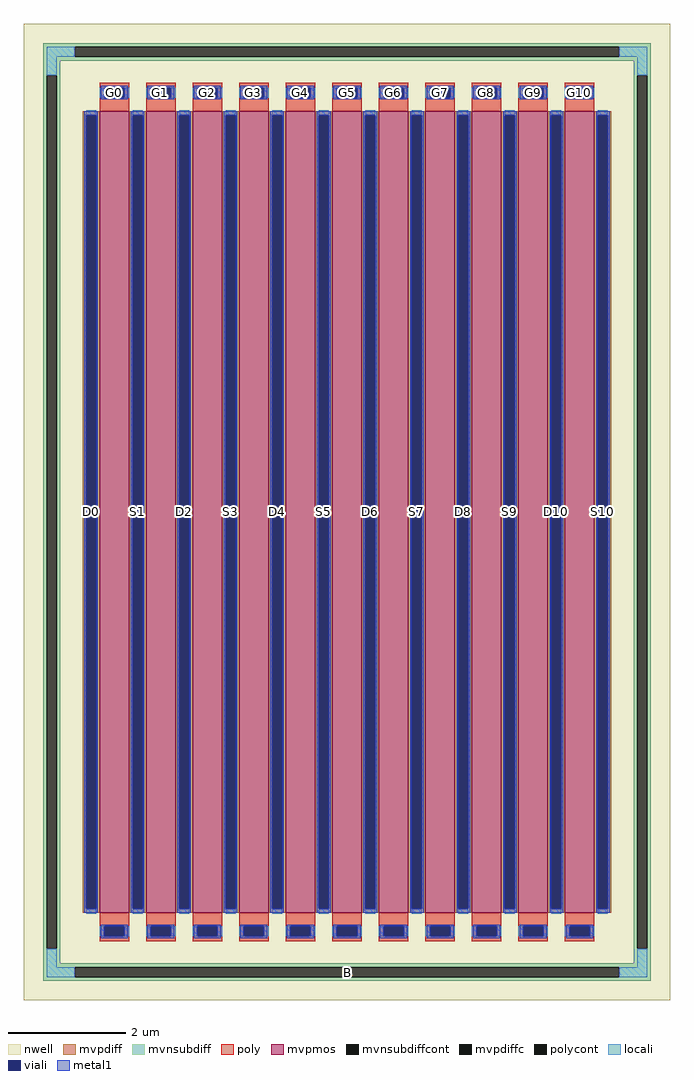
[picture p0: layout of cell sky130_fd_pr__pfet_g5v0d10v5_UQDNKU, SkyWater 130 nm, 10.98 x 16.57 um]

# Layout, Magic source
magic
tech sky130A
magscale 1 2
<< nwell >>
rect -1098 -1657 1098 1657
<< mvpmos >>
rect -840 -1360 -740 1360
rect -682 -1360 -582 1360
rect -524 -1360 -424 1360
rect -366 -1360 -266 1360
rect -208 -1360 -108 1360
rect -50 -1360 50 1360
rect 108 -1360 208 1360
rect 266 -1360 366 1360
rect 424 -1360 524 1360
rect 582 -1360 682 1360
rect 740 -1360 840 1360
<< mvpdiff >>
rect -898 1348 -840 1360
rect -898 -1348 -886 1348
rect -852 -1348 -840 1348
rect -898 -1360 -840 -1348
rect -740 1348 -682 1360
rect -740 -1348 -728 1348
rect -694 -1348 -682 1348
rect -740 -1360 -682 -1348
rect -582 1348 -524 1360
rect -582 -1348 -570 1348
rect -536 -1348 -524 1348
rect -582 -1360 -524 -1348
rect -424 1348 -366 1360
rect -424 -1348 -412 1348
rect -378 -1348 -366 1348
rect -424 -1360 -366 -1348
rect -266 1348 -208 1360
rect -266 -1348 -254 1348
rect -220 -1348 -208 1348
rect -266 -1360 -208 -1348
rect -108 1348 -50 1360
rect -108 -1348 -96 1348
rect -62 -1348 -50 1348
rect -108 -1360 -50 -1348
rect 50 1348 108 1360
rect 50 -1348 62 1348
rect 96 -1348 108 1348
rect 50 -1360 108 -1348
rect 208 1348 266 1360
rect 208 -1348 220 1348
rect 254 -1348 266 1348
rect 208 -1360 266 -1348
rect 366 1348 424 1360
rect 366 -1348 378 1348
rect 412 -1348 424 1348
rect 366 -1360 424 -1348
rect 524 1348 582 1360
rect 524 -1348 536 1348
rect 570 -1348 582 1348
rect 524 -1360 582 -1348
rect 682 1348 740 1360
rect 682 -1348 694 1348
rect 728 -1348 740 1348
rect 682 -1360 740 -1348
rect 840 1348 898 1360
rect 840 -1348 852 1348
rect 886 -1348 898 1348
rect 840 -1360 898 -1348
<< mvpdiffc >>
rect -886 -1348 -852 1348
rect -728 -1348 -694 1348
rect -570 -1348 -536 1348
rect -412 -1348 -378 1348
rect -254 -1348 -220 1348
rect -96 -1348 -62 1348
rect 62 -1348 96 1348
rect 220 -1348 254 1348
rect 378 -1348 412 1348
rect 536 -1348 570 1348
rect 694 -1348 728 1348
rect 852 -1348 886 1348
<< mvnsubdiff >>
rect -1032 1579 1032 1591
rect -1032 1545 -924 1579
rect 924 1545 1032 1579
rect -1032 1533 1032 1545
rect -1032 1483 -974 1533
rect -1032 -1483 -1020 1483
rect -986 -1483 -974 1483
rect 974 1483 1032 1533
rect -1032 -1533 -974 -1483
rect 974 -1483 986 1483
rect 1020 -1483 1032 1483
rect 974 -1533 1032 -1483
rect -1032 -1545 1032 -1533
rect -1032 -1579 -924 -1545
rect 924 -1579 1032 -1545
rect -1032 -1591 1032 -1579
<< mvnsubdiffcont >>
rect -924 1545 924 1579
rect -1020 -1483 -986 1483
rect 986 -1483 1020 1483
rect -924 -1579 924 -1545
<< poly >>
rect -840 1441 -740 1457
rect -840 1407 -824 1441
rect -756 1407 -740 1441
rect -840 1360 -740 1407
rect -682 1441 -582 1457
rect -682 1407 -666 1441
rect -598 1407 -582 1441
rect -682 1360 -582 1407
rect -524 1441 -424 1457
rect -524 1407 -508 1441
rect -440 1407 -424 1441
rect -524 1360 -424 1407
rect -366 1441 -266 1457
rect -366 1407 -350 1441
rect -282 1407 -266 1441
rect -366 1360 -266 1407
rect -208 1441 -108 1457
rect -208 1407 -192 1441
rect -124 1407 -108 1441
rect -208 1360 -108 1407
rect -50 1441 50 1457
rect -50 1407 -34 1441
rect 34 1407 50 1441
rect -50 1360 50 1407
rect 108 1441 208 1457
rect 108 1407 124 1441
rect 192 1407 208 1441
rect 108 1360 208 1407
rect 266 1441 366 1457
rect 266 1407 282 1441
rect 350 1407 366 1441
rect 266 1360 366 1407
rect 424 1441 524 1457
rect 424 1407 440 1441
rect 508 1407 524 1441
rect 424 1360 524 1407
rect 582 1441 682 1457
rect 582 1407 598 1441
rect 666 1407 682 1441
rect 582 1360 682 1407
rect 740 1441 840 1457
rect 740 1407 756 1441
rect 824 1407 840 1441
rect 740 1360 840 1407
rect -840 -1407 -740 -1360
rect -840 -1441 -824 -1407
rect -756 -1441 -740 -1407
rect -840 -1457 -740 -1441
rect -682 -1407 -582 -1360
rect -682 -1441 -666 -1407
rect -598 -1441 -582 -1407
rect -682 -1457 -582 -1441
rect -524 -1407 -424 -1360
rect -524 -1441 -508 -1407
rect -440 -1441 -424 -1407
rect -524 -1457 -424 -1441
rect -366 -1407 -266 -1360
rect -366 -1441 -350 -1407
rect -282 -1441 -266 -1407
rect -366 -1457 -266 -1441
rect -208 -1407 -108 -1360
rect -208 -1441 -192 -1407
rect -124 -1441 -108 -1407
rect -208 -1457 -108 -1441
rect -50 -1407 50 -1360
rect -50 -1441 -34 -1407
rect 34 -1441 50 -1407
rect -50 -1457 50 -1441
rect 108 -1407 208 -1360
rect 108 -1441 124 -1407
rect 192 -1441 208 -1407
rect 108 -1457 208 -1441
rect 266 -1407 366 -1360
rect 266 -1441 282 -1407
rect 350 -1441 366 -1407
rect 266 -1457 366 -1441
rect 424 -1407 524 -1360
rect 424 -1441 440 -1407
rect 508 -1441 524 -1407
rect 424 -1457 524 -1441
rect 582 -1407 682 -1360
rect 582 -1441 598 -1407
rect 666 -1441 682 -1407
rect 582 -1457 682 -1441
rect 740 -1407 840 -1360
rect 740 -1441 756 -1407
rect 824 -1441 840 -1407
rect 740 -1457 840 -1441
<< polycont >>
rect -824 1407 -756 1441
rect -666 1407 -598 1441
rect -508 1407 -440 1441
rect -350 1407 -282 1441
rect -192 1407 -124 1441
rect -34 1407 34 1441
rect 124 1407 192 1441
rect 282 1407 350 1441
rect 440 1407 508 1441
rect 598 1407 666 1441
rect 756 1407 824 1441
rect -824 -1441 -756 -1407
rect -666 -1441 -598 -1407
rect -508 -1441 -440 -1407
rect -350 -1441 -282 -1407
rect -192 -1441 -124 -1407
rect -34 -1441 34 -1407
rect 124 -1441 192 -1407
rect 282 -1441 350 -1407
rect 440 -1441 508 -1407
rect 598 -1441 666 -1407
rect 756 -1441 824 -1407
<< locali >>
rect -1020 1545 -924 1579
rect 924 1545 1020 1579
rect -1020 1483 -986 1545
rect 986 1483 1020 1545
rect -840 1407 -824 1441
rect -756 1407 -740 1441
rect -682 1407 -666 1441
rect -598 1407 -582 1441
rect -524 1407 -508 1441
rect -440 1407 -424 1441
rect -366 1407 -350 1441
rect -282 1407 -266 1441
rect -208 1407 -192 1441
rect -124 1407 -108 1441
rect -50 1407 -34 1441
rect 34 1407 50 1441
rect 108 1407 124 1441
rect 192 1407 208 1441
rect 266 1407 282 1441
rect 350 1407 366 1441
rect 424 1407 440 1441
rect 508 1407 524 1441
rect 582 1407 598 1441
rect 666 1407 682 1441
rect 740 1407 756 1441
rect 824 1407 840 1441
rect -886 1348 -852 1364
rect -886 -1364 -852 -1348
rect -728 1348 -694 1364
rect -728 -1364 -694 -1348
rect -570 1348 -536 1364
rect -570 -1364 -536 -1348
rect -412 1348 -378 1364
rect -412 -1364 -378 -1348
rect -254 1348 -220 1364
rect -254 -1364 -220 -1348
rect -96 1348 -62 1364
rect -96 -1364 -62 -1348
rect 62 1348 96 1364
rect 62 -1364 96 -1348
rect 220 1348 254 1364
rect 220 -1364 254 -1348
rect 378 1348 412 1364
rect 378 -1364 412 -1348
rect 536 1348 570 1364
rect 536 -1364 570 -1348
rect 694 1348 728 1364
rect 694 -1364 728 -1348
rect 852 1348 886 1364
rect 852 -1364 886 -1348
rect -840 -1441 -824 -1407
rect -756 -1441 -740 -1407
rect -682 -1441 -666 -1407
rect -598 -1441 -582 -1407
rect -524 -1441 -508 -1407
rect -440 -1441 -424 -1407
rect -366 -1441 -350 -1407
rect -282 -1441 -266 -1407
rect -208 -1441 -192 -1407
rect -124 -1441 -108 -1407
rect -50 -1441 -34 -1407
rect 34 -1441 50 -1407
rect 108 -1441 124 -1407
rect 192 -1441 208 -1407
rect 266 -1441 282 -1407
rect 350 -1441 366 -1407
rect 424 -1441 440 -1407
rect 508 -1441 524 -1407
rect 582 -1441 598 -1407
rect 666 -1441 682 -1407
rect 740 -1441 756 -1407
rect 824 -1441 840 -1407
rect -1020 -1545 -986 -1483
rect 986 -1545 1020 -1483
rect -1020 -1579 -924 -1545
rect 924 -1579 1020 -1545
<< viali >>
rect -824 1407 -756 1441
rect -666 1407 -598 1441
rect -508 1407 -440 1441
rect -350 1407 -282 1441
rect -192 1407 -124 1441
rect -34 1407 34 1441
rect 124 1407 192 1441
rect 282 1407 350 1441
rect 440 1407 508 1441
rect 598 1407 666 1441
rect 756 1407 824 1441
rect -886 -1348 -852 1348
rect -728 -1348 -694 1348
rect -570 -1348 -536 1348
rect -412 -1348 -378 1348
rect -254 -1348 -220 1348
rect -96 -1348 -62 1348
rect 62 -1348 96 1348
rect 220 -1348 254 1348
rect 378 -1348 412 1348
rect 536 -1348 570 1348
rect 694 -1348 728 1348
rect 852 -1348 886 1348
rect -824 -1441 -756 -1407
rect -666 -1441 -598 -1407
rect -508 -1441 -440 -1407
rect -350 -1441 -282 -1407
rect -192 -1441 -124 -1407
rect -34 -1441 34 -1407
rect 124 -1441 192 -1407
rect 282 -1441 350 -1407
rect 440 -1441 508 -1407
rect 598 -1441 666 -1407
rect 756 -1441 824 -1407
<< metal1 >>
rect -836 1441 -744 1447
rect -836 1407 -824 1441
rect -756 1407 -744 1441
rect -836 1401 -744 1407
rect -678 1441 -586 1447
rect -678 1407 -666 1441
rect -598 1407 -586 1441
rect -678 1401 -586 1407
rect -520 1441 -428 1447
rect -520 1407 -508 1441
rect -440 1407 -428 1441
rect -520 1401 -428 1407
rect -362 1441 -270 1447
rect -362 1407 -350 1441
rect -282 1407 -270 1441
rect -362 1401 -270 1407
rect -204 1441 -112 1447
rect -204 1407 -192 1441
rect -124 1407 -112 1441
rect -204 1401 -112 1407
rect -46 1441 46 1447
rect -46 1407 -34 1441
rect 34 1407 46 1441
rect -46 1401 46 1407
rect 112 1441 204 1447
rect 112 1407 124 1441
rect 192 1407 204 1441
rect 112 1401 204 1407
rect 270 1441 362 1447
rect 270 1407 282 1441
rect 350 1407 362 1441
rect 270 1401 362 1407
rect 428 1441 520 1447
rect 428 1407 440 1441
rect 508 1407 520 1441
rect 428 1401 520 1407
rect 586 1441 678 1447
rect 586 1407 598 1441
rect 666 1407 678 1441
rect 586 1401 678 1407
rect 744 1441 836 1447
rect 744 1407 756 1441
rect 824 1407 836 1441
rect 744 1401 836 1407
rect -892 1348 -846 1360
rect -892 -1348 -886 1348
rect -852 -1348 -846 1348
rect -892 -1360 -846 -1348
rect -734 1348 -688 1360
rect -734 -1348 -728 1348
rect -694 -1348 -688 1348
rect -734 -1360 -688 -1348
rect -576 1348 -530 1360
rect -576 -1348 -570 1348
rect -536 -1348 -530 1348
rect -576 -1360 -530 -1348
rect -418 1348 -372 1360
rect -418 -1348 -412 1348
rect -378 -1348 -372 1348
rect -418 -1360 -372 -1348
rect -260 1348 -214 1360
rect -260 -1348 -254 1348
rect -220 -1348 -214 1348
rect -260 -1360 -214 -1348
rect -102 1348 -56 1360
rect -102 -1348 -96 1348
rect -62 -1348 -56 1348
rect -102 -1360 -56 -1348
rect 56 1348 102 1360
rect 56 -1348 62 1348
rect 96 -1348 102 1348
rect 56 -1360 102 -1348
rect 214 1348 260 1360
rect 214 -1348 220 1348
rect 254 -1348 260 1348
rect 214 -1360 260 -1348
rect 372 1348 418 1360
rect 372 -1348 378 1348
rect 412 -1348 418 1348
rect 372 -1360 418 -1348
rect 530 1348 576 1360
rect 530 -1348 536 1348
rect 570 -1348 576 1348
rect 530 -1360 576 -1348
rect 688 1348 734 1360
rect 688 -1348 694 1348
rect 728 -1348 734 1348
rect 688 -1360 734 -1348
rect 846 1348 892 1360
rect 846 -1348 852 1348
rect 886 -1348 892 1348
rect 846 -1360 892 -1348
rect -836 -1407 -744 -1401
rect -836 -1441 -824 -1407
rect -756 -1441 -744 -1407
rect -836 -1447 -744 -1441
rect -678 -1407 -586 -1401
rect -678 -1441 -666 -1407
rect -598 -1441 -586 -1407
rect -678 -1447 -586 -1441
rect -520 -1407 -428 -1401
rect -520 -1441 -508 -1407
rect -440 -1441 -428 -1407
rect -520 -1447 -428 -1441
rect -362 -1407 -270 -1401
rect -362 -1441 -350 -1407
rect -282 -1441 -270 -1407
rect -362 -1447 -270 -1441
rect -204 -1407 -112 -1401
rect -204 -1441 -192 -1407
rect -124 -1441 -112 -1407
rect -204 -1447 -112 -1441
rect -46 -1407 46 -1401
rect -46 -1441 -34 -1407
rect 34 -1441 46 -1407
rect -46 -1447 46 -1441
rect 112 -1407 204 -1401
rect 112 -1441 124 -1407
rect 192 -1441 204 -1407
rect 112 -1447 204 -1441
rect 270 -1407 362 -1401
rect 270 -1441 282 -1407
rect 350 -1441 362 -1407
rect 270 -1447 362 -1441
rect 428 -1407 520 -1401
rect 428 -1441 440 -1407
rect 508 -1441 520 -1407
rect 428 -1447 520 -1441
rect 586 -1407 678 -1401
rect 586 -1441 598 -1407
rect 666 -1441 678 -1407
rect 586 -1447 678 -1441
rect 744 -1407 836 -1401
rect 744 -1441 756 -1407
rect 824 -1441 836 -1407
rect 744 -1447 836 -1441
<< labels >>
rlabel mvnsubdiffcont 0 -1562 0 -1562 0 B
port 1 nsew
rlabel mvpdiffc -869 0 -869 0 0 D0
port 2 nsew
rlabel polycont -790 1424 -790 1424 0 G0
port 3 nsew
rlabel mvpdiffc -711 0 -711 0 0 S1
port 4 nsew
rlabel polycont -632 1424 -632 1424 0 G1
port 5 nsew
rlabel mvpdiffc -553 0 -553 0 0 D2
port 6 nsew
rlabel polycont -474 1424 -474 1424 0 G2
port 7 nsew
rlabel mvpdiffc -395 0 -395 0 0 S3
port 8 nsew
rlabel polycont -316 1424 -316 1424 0 G3
port 9 nsew
rlabel mvpdiffc -237 0 -237 0 0 D4
port 10 nsew
rlabel polycont -158 1424 -158 1424 0 G4
port 11 nsew
rlabel mvpdiffc -79 0 -79 0 0 S5
port 12 nsew
rlabel polycont 0 1424 0 1424 0 G5
port 13 nsew
rlabel mvpdiffc 79 0 79 0 0 D6
port 14 nsew
rlabel polycont 158 1424 158 1424 0 G6
port 15 nsew
rlabel mvpdiffc 237 0 237 0 0 S7
port 16 nsew
rlabel polycont 316 1424 316 1424 0 G7
port 17 nsew
rlabel mvpdiffc 395 0 395 0 0 D8
port 18 nsew
rlabel polycont 474 1424 474 1424 0 G8
port 19 nsew
rlabel mvpdiffc 553 0 553 0 0 S9
port 20 nsew
rlabel polycont 632 1424 632 1424 0 G9
port 21 nsew
rlabel mvpdiffc 711 0 711 0 0 D10
port 22 nsew
rlabel mvpdiffc 869 0 869 0 0 S10
port 23 nsew
rlabel polycont 790 1424 790 1424 0 G10
port 24 nsew
<< properties >>
string FIXED_BBOX -1003 -1562 1003 1562
string gencell sky130_fd_pr__pfet_g5v0d10v5
string library sky130
string parameters w 13.6 l 0.5 m 1 nf 11 diffcov 100 polycov 100 guard 1 glc 1 grc 1 gtc 1 gbc 1 tbcov 100 rlcov 100 topc 1 botc 1 poverlap 0 doverlap 1 lmin 0.50 wmin 0.42 class mosfet compatible {sky130_fd_pr__pfet_01v8  sky130_fd_pr__pfet_01v8_lvt sky130_fd_pr__pfet_01v8_hvt  sky130_fd_pr__pfet_g5v0d10v5} full_metal 1 conn_gates 0 viasrc 100 viadrn 100 viagate 100 viagb 0 viagr 0 viagl 0 viagt 0 doports 1
<< end >>
